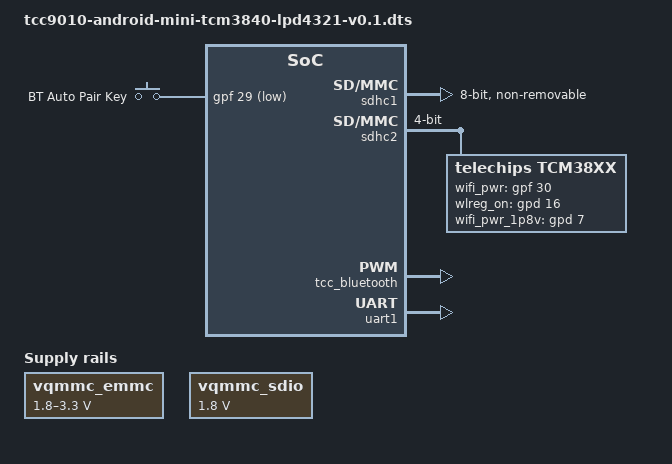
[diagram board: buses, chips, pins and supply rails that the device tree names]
// SPDX-License-Identifier: (GPL-2.0+ OR MIT)
/*
 * Device tree for Telechips TCC9010 MINI board
 *
 * Copyright (C) 2018 Telechips Inc.
*/

#ifndef DT_OVERLAY
/dts-v1/;
#endif

#include "tcc9010-android-mini.dtsi"

/* CPU Power Control */
&cpu0_regulators {
	gpios = <&gpf 5 0x4>;
};

/* eMMC */
&vqmmc_emmc {
	compatible = "regulator-gpio";

	regulator-name = "vqmmc_emmc";
	regulator-min-microvolt = <1800000>;
	regulator-max-microvolt = <3300000>;
	regulator-type = "voltage";
	regulator-ramp-delay = <10>;
	regulator-always-on;

	gpios = <&gpa 4 0x4>;
	gpios-states = <0>;
	states = <1800000 0x0
		3300000 0x1>;
};

&sdhc1 {
	status = "okay";
	bus-width = <8>;
	max-frequency = <200000000>;
	pinctrl-names = "default";
	pinctrl-0 = <&sd1_1_clk &sd1_1_cmd &sd1_1_bus8>;

	non-removable;
	keep-power-in-suspend;
	disable-wp;
	cap-mmc-hw-reset;
	mmc-ddr-1_8v;

	tcc-mmc-reset = <&gpa 6 0>;

	vqmmc-supply = <&vqmmc_emmc>;
};

/* SDIO */
&vqmmc_sdio {
	compatible = "regulator-fixed";
	regulator-name = "vqmmc_sdio";
	regulator-min-microvolt = <1800000>;
	regulator-max-microvolt = <1800000>;
	regulator-always-on;
};

&sdhc2 {
	status = "okay";
	bus-width = <4>;
	max-frequency = <2000000000>;
	pinctrl-names = "default";
	pinctrl-0 = <&sd2_1_clk &sd2_1_cmd &sd2_1_bus4>;

	keep-power-in-suspend;
	cap-sdio-irq;

	vqmmc-supply = <&vqmmc_sdio>;

	cd-force-presence-change;

	tcm38xx {
		compatible = "telechips,tcm38xx";
		wifi_pwr-gpio = <&gpf 30 0>; /* BT_WIFI_VBAT_EN */
		wlreg_on-gpio = <&gpd 16 0>; /* WIFI_REG_ON */
		wifi_pwr_1p8v-gpio = <&gpd 7 0>;
		//wifi_pwr_3p3v-gpio = <&gpsd1 7 0>;
	};
};

/* USB 3.0 DRD */
&dwc3_phy {
	status = "disable";
};
&dwc3 {
	status = "disable";
};

/* USB 2.0 HOST */
&ehci_phy {
	status = "disable";
};

&tcc_bluetooth {
	compatible = "telechips, tcc_bluetooth";
	bt_power-gpio = <&gpf 30 0>; /* BTWIFI_VBAT_EN */
	bt_reg_on-gpio = <&gpd 15 0>;
	bt_wake-gpio = <&gpd 0 0>;
	bt_hwake-gpio = <&gpd 9 0>;
	bt_power_1p8v-gpio = <&gpd 7 0>;
	//bt_power_3p3v-gpio = <&gpsd1 7 0>;
	status = "okay";
};

&gpio_keys_polled {
	compatible = "gpio-keys-polled";
	#address-cells = <1>;
	#size-cells = <0>;
	poll-interval = <100>;
	autorepeat;
	button@0 {
		label = "BT Auto Pair Key";
		linux,code = <218>;
		gpios = <&gpf 29 1>;
	};
};

/* bluetooth */
&uart1 {
	pinctrl-names = "default";
	pinctrl-0 = <&uart4_data &uart4_rtscts>;
	dmas = <&udma1 2 2 &udma1 3 2>;
	dma-names = "tx", "rx";
	status = "okay";
};

&gpu {
        operating-points-v2 = <&gpu_opp_table>;
};

&gpu_opp_table {
    opp@444000000 {
	opp-hz = /bits/ 64 <444000000>;
	opp-core-mask = /bits/ 64 <0x3>;
    };
    opp@592000000 {
        opp-hz = /bits/ 64 <592000000>;
        opp-core-mask = /bits/ 64 <0x3>;
    };
    opp@600000000 {
        opp-hz = /bits/ 64 <600000000>;
        opp-core-mask = /bits/ 64 <0x3>;
    };
};
